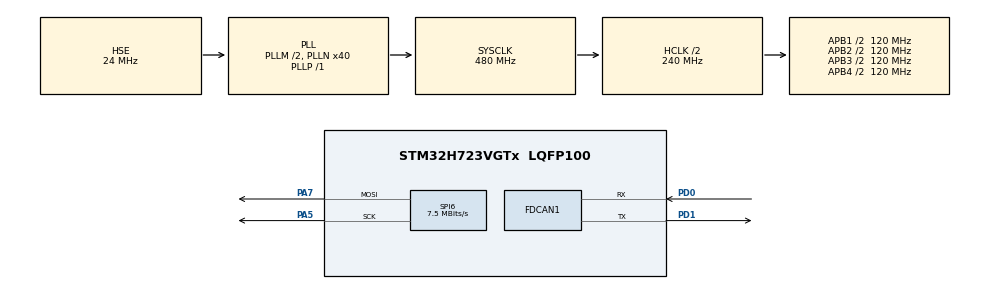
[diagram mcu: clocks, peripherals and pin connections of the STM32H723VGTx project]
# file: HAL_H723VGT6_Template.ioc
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Bdma.Request0=SPI6_TX
Bdma.RequestsNb=1
Bdma.SPI6_TX.0.Direction=DMA_MEMORY_TO_PERIPH
Bdma.SPI6_TX.0.EventEnable=DISABLE
Bdma.SPI6_TX.0.Instance=BDMA_Channel0
Bdma.SPI6_TX.0.MemDataAlignment=DMA_MDATAALIGN_BYTE
Bdma.SPI6_TX.0.MemInc=DMA_MINC_ENABLE
Bdma.SPI6_TX.0.Mode=DMA_NORMAL
Bdma.SPI6_TX.0.PeriphDataAlignment=DMA_PDATAALIGN_BYTE
Bdma.SPI6_TX.0.PeriphInc=DMA_PINC_DISABLE
Bdma.SPI6_TX.0.Polarity=HAL_DMAMUX_REQ_GEN_RISING
Bdma.SPI6_TX.0.Priority=DMA_PRIORITY_LOW
Bdma.SPI6_TX.0.RequestNumber=1
Bdma.SPI6_TX.0.SignalID=NONE
Bdma.SPI6_TX.0.SyncEnable=DISABLE
Bdma.SPI6_TX.0.SyncPolarity=HAL_DMAMUX_SYNC_NO_EVENT
Bdma.SPI6_TX.0.SyncRequestNumber=1
Bdma.SPI6_TX.0.SyncSignalID=NONE
CORTEX_M7.default_mode_Activation=1
FDCAN1.CalculateBaudRateNominal=1000000
FDCAN1.CalculateTimeBitNominal=1000
FDCAN1.CalculateTimeQuantumNominal=83.33333333333333
FDCAN1.NominalPrescaler=2
FDCAN1.NominalTimeSeg1=8
FDCAN1.NominalTimeSeg2=3
FDCAN1.RxFifo0ElmtsNbr=8
FDCAN1.StdFiltersNbr=1
FDCAN1.TxFifoQueueElmtsNbr=8
Mcu.Family=STM32H7
Mcu.Name=STM32H723VGTx
Mcu.Package=LQFP100
NVIC.BDMA_Channel0_IRQn=true\:0\:0\:false\:false\:true\:false\:true\:true
NVIC.FDCAN1_IT0_IRQn=true\:2\:0\:true\:false\:true\:true\:true\:true
NVIC.PriorityGroup=NVIC_PRIORITYGROUP_4
NVIC.SPI6_IRQn=true\:10\:0\:true\:false\:true\:false\:true\:true
PA13(JTMS/SWDIO).Mode=Serial_Wire
PA13(JTMS/SWDIO).Signal=DEBUG_JTMS-SWDIO
PA14(JTCK/SWCLK).Mode=Serial_Wire
PA14(JTCK/SWCLK).Signal=DEBUG_JTCK-SWCLK
PA5.Mode=TX_Only_Simplex_Unidirect_Master
PA5.Signal=SPI6_SCK
PA7.Mode=TX_Only_Simplex_Unidirect_Master
PA7.Signal=SPI6_MOSI
PD0.Mode=FDCAN_Activate
PD0.Signal=FDCAN1_RX
PD1.Mode=FDCAN_Activate
PD1.Signal=FDCAN1_TX
PH0-OSC_IN.Mode=HSE-External-Oscillator
PH0-OSC_IN.Signal=RCC_OSC_IN
PH1-OSC_OUT.Mode=HSE-External-Oscillator
PH1-OSC_OUT.Signal=RCC_OSC_OUT
ProjectManager.HeapSize=0x200
ProjectManager.StackSize=0x400
ProjectManager.TargetToolchain=MDK-ARM V5.32
RCC.ADCFreq_Value=48375000
RCC.APB1Freq_Value=120000000
RCC.APB2Freq_Value=120000000
RCC.APB3Freq_Value=120000000
RCC.APB4Freq_Value=120000000
RCC.CortexFreq_Value=480000000
RCC.D1PPRE=RCC_APB3_DIV2
RCC.D2PPRE1=RCC_APB1_DIV2
RCC.D2PPRE2=RCC_APB2_DIV2
RCC.D3PPRE=RCC_APB4_DIV2
RCC.DIVM1=2
RCC.DIVN1=40
RCC.DIVP1=1
RCC.FDCANCLockSelection=RCC_FDCANCLKSOURCE_HSE
RCC.HCLKFreq_Value=240000000
RCC.HPRE=RCC_HCLK_DIV2
RCC.HSE_VALUE=24000000
RCC.PLLFRACN=0
RCC.PLLSourceVirtual=RCC_PLLSOURCE_HSE
RCC.SYSCLKFreq_VALUE=480000000
RCC.SYSCLKSource=RCC_SYSCLKSOURCE_PLLCLK
RCC.USBFreq_Value=240000000
SPI6.BaudRatePrescaler=SPI_BAUDRATEPRESCALER_16
SPI6.CLKPhase=SPI_PHASE_2EDGE
SPI6.CalculateBaudRate=7.5 MBits/s
SPI6.DataSize=SPI_DATASIZE_8BIT
SPI6.Direction=SPI_DIRECTION_2LINES_TXONLY
SPI6.Mode=SPI_MODE_MASTER
SPI6.NSSPMode=SPI_NSS_PULSE_DISABLE
SPI6.VirtualType=VM_MASTER
VP_MEMORYMAP_VS_MEMORYMAP.Mode=CurAppReg
board=custom

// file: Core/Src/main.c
/* USER CODE BEGIN Header */
/**
  ******************************************************************************
  * @file           : main.c
  * @brief          : Main program body
  ******************************************************************************
  * @attention
  *
  * Copyright (c) 2026 STMicroelectronics.
  * All rights reserved.
  *
  * This software is licensed under terms that can be found in the LICENSE file
  * in the root directory of this software component.
  * If no LICENSE file comes with this software, it is provided AS-IS.
  *
  ******************************************************************************
  */
/* USER CODE END Header */
#include "main.h"

/* USER CODE BEGIN Includes */
#include "2812LED.h"
#include "CAN.h"
#include "DM_BLDC_Motor.h"

/* USER CODE END Includes */

FDCAN_HandleTypeDef hfdcan1;

SPI_HandleTypeDef hspi6;
DMA_HandleTypeDef hdma_spi6_tx;

void SystemClock_Config(void);
static void MPU_Config(void);
static void MX_GPIO_Init(void);
static void MX_BDMA_Init(void);
static void MX_SPI6_Init(void);
static void MX_FDCAN1_Init(void);

int main(void)
{

  /* MPU Configuration--------------------------------------------------------*/
  MPU_Config();

  /* MCU Configuration--------------------------------------------------------*/

  /* Reset of all peripherals, Initializes the Flash interface and the Systick. */
  HAL_Init();

  /* Configure the system clock */
  SystemClock_Config();

  /* Initialize all configured peripherals */
  MX_GPIO_Init();
  MX_BDMA_Init();
  MX_SPI6_Init();
  MX_FDCAN1_Init();
  /* USER CODE BEGIN 2 */
	DM_CAN_Motor_Init();

	DM_CAN_Motor_SetEnable(DM_Motor_4310P_ID,DM_Mototr_Disable);
	HAL_Delay(1000);
	DM_CAN_Motor_SetEnable(DM_Motor_4310P_ID,DM_Mototr_Enable);

  /* USER CODE END 2 */

  /* Infinite loop */
  /* USER CODE BEGIN WHILE */
  while (1)
  {
		DM_CAN_Motor_Rotation_deg(&DM_Motor_4310P_StructData,100.0f);
    HAL_Delay(3000);
		DM_CAN_Motor_Rotation_deg(&DM_Motor_4310P_StructData,200.0f);
    HAL_Delay(3000);
		DM_CAN_Motor_Rotation_deg(&DM_Motor_4310P_StructData,300.0f);
    HAL_Delay(3000);
		DM_CAN_Motor_Rotation_deg(&DM_Motor_4310P_StructData,200.0f);
    HAL_Delay(3000);
		DM_CAN_Motor_Rotation_deg(&DM_Motor_4310P_StructData,100.0f);
    HAL_Delay(3000);
		DM_CAN_Motor_Rotation_deg(&DM_Motor_4310P_StructData,10.0f);
    HAL_Delay(3000);

    /* USER CODE END WHILE */

  }
}

void SystemClock_Config(void)
{
  RCC_OscInitTypeDef RCC_OscInitStruct = {0};
  RCC_ClkInitTypeDef RCC_ClkInitStruct = {0};

  /** Supply configuration update enable
  */
  HAL_PWREx_ConfigSupply(PWR_LDO_SUPPLY);

  /** Configure the main internal regulator output voltage
  */
  __HAL_PWR_VOLTAGESCALING_CONFIG(PWR_REGULATOR_VOLTAGE_SCALE0);

  while(!__HAL_PWR_GET_FLAG(PWR_FLAG_VOSRDY)) {}

  /** Initializes the RCC Oscillators according to the specified parameters
  * in the RCC_OscInitTypeDef structure.
  */
  RCC_OscInitStruct.OscillatorType = RCC_OSCILLATORTYPE_HSE;
  RCC_OscInitStruct.HSEState = RCC_HSE_ON;
  RCC_OscInitStruct.PLL.PLLState = RCC_PLL_ON;
  RCC_OscInitStruct.PLL.PLLSource = RCC_PLLSOURCE_HSE;
  RCC_OscInitStruct.PLL.PLLM = 2;
  RCC_OscInitStruct.PLL.PLLN = 40;
  RCC_OscInitStruct.PLL.PLLP = 1;
  RCC_OscInitStruct.PLL.PLLQ = 2;
  RCC_OscInitStruct.PLL.PLLR = 2;
  RCC_OscInitStruct.PLL.PLLRGE = RCC_PLL1VCIRANGE_3;
  RCC_OscInitStruct.PLL.PLLVCOSEL = RCC_PLL1VCOWIDE;
  RCC_OscInitStruct.PLL.PLLFRACN = 0;
  if (HAL_RCC_OscConfig(&RCC_OscInitStruct) != HAL_OK)
  {
    Error_Handler();
  }

  /** Initializes the CPU, AHB and APB buses clocks
  */
  RCC_ClkInitStruct.ClockType = RCC_CLOCKTYPE_HCLK|RCC_CLOCKTYPE_SYSCLK
                              |RCC_CLOCKTYPE_PCLK1|RCC_CLOCKTYPE_PCLK2
                              |RCC_CLOCKTYPE_D3PCLK1|RCC_CLOCKTYPE_D1PCLK1;
  RCC_ClkInitStruct.SYSCLKSource = RCC_SYSCLKSOURCE_PLLCLK;
  RCC_ClkInitStruct.SYSCLKDivider = RCC_SYSCLK_DIV1;
  RCC_ClkInitStruct.AHBCLKDivider = RCC_HCLK_DIV2;
  RCC_ClkInitStruct.APB3CLKDivider = RCC_APB3_DIV2;
  RCC_ClkInitStruct.APB1CLKDivider = RCC_APB1_DIV2;
  RCC_ClkInitStruct.APB2CLKDivider = RCC_APB2_DIV2;
  RCC_ClkInitStruct.APB4CLKDivider = RCC_APB4_DIV2;

  if (HAL_RCC_ClockConfig(&RCC_ClkInitStruct, FLASH_LATENCY_3) != HAL_OK)
  {
    Error_Handler();
  }
}

static void MX_FDCAN1_Init(void)
{

  hfdcan1.Instance = FDCAN1;
  hfdcan1.Init.FrameFormat = FDCAN_FRAME_CLASSIC;
  hfdcan1.Init.Mode = FDCAN_MODE_NORMAL;
  hfdcan1.Init.AutoRetransmission = DISABLE;
  hfdcan1.Init.TransmitPause = DISABLE;
  hfdcan1.Init.ProtocolException = DISABLE;
  hfdcan1.Init.NominalPrescaler = 2;
  hfdcan1.Init.NominalSyncJumpWidth = 1;
  hfdcan1.Init.NominalTimeSeg1 = 8;
  hfdcan1.Init.NominalTimeSeg2 = 3;
  hfdcan1.Init.DataPrescaler = 1;
  hfdcan1.Init.DataSyncJumpWidth = 1;
  hfdcan1.Init.DataTimeSeg1 = 1;
  hfdcan1.Init.DataTimeSeg2 = 1;
  hfdcan1.Init.MessageRAMOffset = 0;
  hfdcan1.Init.StdFiltersNbr = 1;
  hfdcan1.Init.ExtFiltersNbr = 0;
  hfdcan1.Init.RxFifo0ElmtsNbr = 8;
  hfdcan1.Init.RxFifo0ElmtSize = FDCAN_DATA_BYTES_8;
  hfdcan1.Init.RxFifo1ElmtsNbr = 0;
  hfdcan1.Init.RxFifo1ElmtSize = FDCAN_DATA_BYTES_8;
  hfdcan1.Init.RxBuffersNbr = 0;
  hfdcan1.Init.RxBufferSize = FDCAN_DATA_BYTES_8;
  hfdcan1.Init.TxEventsNbr = 0;
  hfdcan1.Init.TxBuffersNbr = 0;
  hfdcan1.Init.TxFifoQueueElmtsNbr = 8;
  hfdcan1.Init.TxFifoQueueMode = FDCAN_TX_FIFO_OPERATION;
  hfdcan1.Init.TxElmtSize = FDCAN_DATA_BYTES_8;
  if (HAL_FDCAN_Init(&hfdcan1) != HAL_OK)
  {
    Error_Handler();
  }
  /* USER CODE BEGIN FDCAN1_Init 2 */
	//过滤器配置
	HAL_FDCAN_ConfigGlobalFilter(&hfdcan1, FDCAN_ACCEPT_IN_RX_FIFO0, FDCAN_ACCEPT_IN_RX_FIFO0, FDCAN_REJECT, FDCAN_REJECT);
  //启动FDCAN外设
	HAL_FDCAN_Start(&hfdcan1);
	//开启中断接收
  HAL_FDCAN_ActivateNotification(&hfdcan1, FDCAN_IT_RX_FIFO0_NEW_MESSAGE, 0);

  /* USER CODE END FDCAN1_Init 2 */

}

static void MX_SPI6_Init(void)
{

  /* SPI6 parameter configuration*/
  hspi6.Instance = SPI6;
  hspi6.Init.Mode = SPI_MODE_MASTER;
  hspi6.Init.Direction = SPI_DIRECTION_2LINES_TXONLY;
  hspi6.Init.DataSize = SPI_DATASIZE_8BIT;
  hspi6.Init.CLKPolarity = SPI_POLARITY_LOW;
  hspi6.Init.CLKPhase = SPI_PHASE_2EDGE;
  hspi6.Init.NSS = SPI_NSS_SOFT;
  hspi6.Init.BaudRatePrescaler = SPI_BAUDRATEPRESCALER_16;
  hspi6.Init.FirstBit = SPI_FIRSTBIT_MSB;
  hspi6.Init.TIMode = SPI_TIMODE_DISABLE;
  hspi6.Init.CRCCalculation = SPI_CRCCALCULATION_DISABLE;
  hspi6.Init.CRCPolynomial = 0x0;
  hspi6.Init.NSSPMode = SPI_NSS_PULSE_DISABLE;
  hspi6.Init.NSSPolarity = SPI_NSS_POLARITY_LOW;
  hspi6.Init.FifoThreshold = SPI_FIFO_THRESHOLD_01DATA;
  hspi6.Init.TxCRCInitializationPattern = SPI_CRC_INITIALIZATION_ALL_ZERO_PATTERN;
  hspi6.Init.RxCRCInitializationPattern = SPI_CRC_INITIALIZATION_ALL_ZERO_PATTERN;
  hspi6.Init.MasterSSIdleness = SPI_MASTER_SS_IDLENESS_00CYCLE;
  hspi6.Init.MasterInterDataIdleness = SPI_MASTER_INTERDATA_IDLENESS_00CYCLE;
  hspi6.Init.MasterReceiverAutoSusp = SPI_MASTER_RX_AUTOSUSP_DISABLE;
  hspi6.Init.MasterKeepIOState = SPI_MASTER_KEEP_IO_STATE_DISABLE;
  hspi6.Init.IOSwap = SPI_IO_SWAP_DISABLE;
  if (HAL_SPI_Init(&hspi6) != HAL_OK)
  {
    Error_Handler();
  }

}

static void MX_BDMA_Init(void)
{

  /* DMA controller clock enable */
  __HAL_RCC_BDMA_CLK_ENABLE();

  /* DMA interrupt init */
  /* BDMA_Channel0_IRQn interrupt configuration */
  HAL_NVIC_SetPriority(BDMA_Channel0_IRQn, 0, 0);
  HAL_NVIC_EnableIRQ(BDMA_Channel0_IRQn);

}

static void MX_GPIO_Init(void)
{

  /* GPIO Ports Clock Enable */
  __HAL_RCC_GPIOH_CLK_ENABLE();
  __HAL_RCC_GPIOA_CLK_ENABLE();
  __HAL_RCC_GPIOD_CLK_ENABLE();

}

 /* MPU Configuration */

void MPU_Config(void)
{
  MPU_Region_InitTypeDef MPU_InitStruct = {0};

  /* Disables the MPU */
  HAL_MPU_Disable();

  /** Initializes and configures the Region and the memory to be protected
  */
  MPU_InitStruct.Enable = MPU_REGION_ENABLE;
  MPU_InitStruct.Number = MPU_REGION_NUMBER0;
  MPU_InitStruct.BaseAddress = 0x0;
  MPU_InitStruct.Size = MPU_REGION_SIZE_4GB;
  MPU_InitStruct.SubRegionDisable = 0x87;
  MPU_InitStruct.TypeExtField = MPU_TEX_LEVEL0;
  MPU_InitStruct.AccessPermission = MPU_REGION_NO_ACCESS;
  MPU_InitStruct.DisableExec = MPU_INSTRUCTION_ACCESS_DISABLE;
  MPU_InitStruct.IsShareable = MPU_ACCESS_SHAREABLE;
  MPU_InitStruct.IsCacheable = MPU_ACCESS_NOT_CACHEABLE;
  MPU_InitStruct.IsBufferable = MPU_ACCESS_NOT_BUFFERABLE;

  HAL_MPU_ConfigRegion(&MPU_InitStruct);
  /* Enables the MPU */
  HAL_MPU_Enable(MPU_PRIVILEGED_DEFAULT);

}

void Error_Handler(void)
{
  __disable_irq();
  while (1)
  {
  }
}
